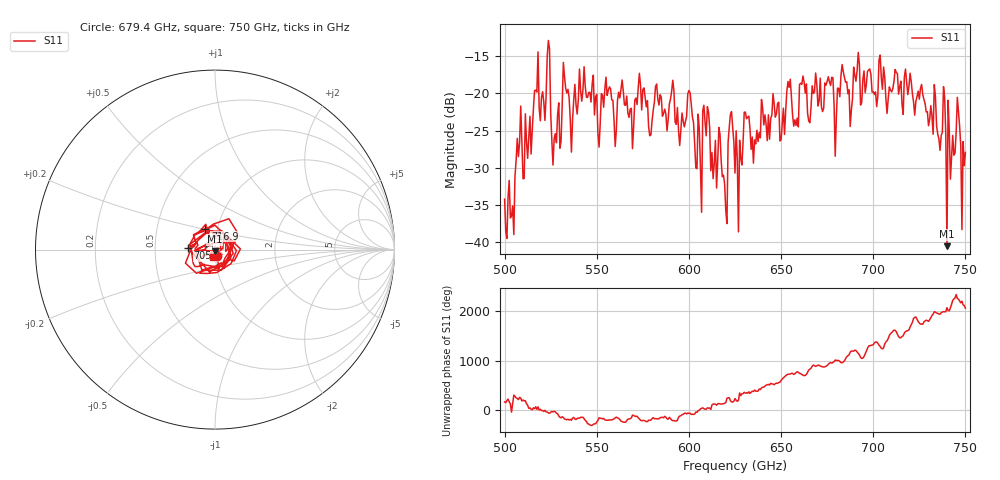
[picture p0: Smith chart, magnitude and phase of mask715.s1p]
!Created with skrf (http://scikit-rf.org).
# GHz S MA R 50.0
!freq magS11 angS11
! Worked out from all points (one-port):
!   401 points, 500 GHz to 750 GHz, reference 50 ohm
!   lowest |S11| = -40.6 dB at 740 GHz (marker M1), VSWR 1.02, Z = 49.9 - j0.936 ohm
!   |S11| at or under -10 dB: start of sweep to end of sweep
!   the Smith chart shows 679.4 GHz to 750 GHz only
!   S11 on the Smith chart (normalised r, x): 679.4 GHz: 1.02, -0.07; 705.6 GHz: 0.74, +0.01; 716.9 GHz: 0.87, +0.21; 750 GHz: 0.98, -0.08
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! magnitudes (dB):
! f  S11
! 500 GHz  -34.2
! 504.4 GHz  -35.1
! 507.5 GHz  -28.5
! 511.2 GHz  -22.7
! 516.9 GHz  -19.6
! 523.8 GHz  -12.9
! 526.9 GHz  -26.1
! 531.2 GHz  -21.5
! 562.5 GHz  -20.6
! 579.4 GHz  -25.6
! 590.6 GHz  -19.7
! 593.8 GHz  -21.9
! 600.6 GHz  -19.9
! 605.6 GHz  -24.8
! 609.4 GHz  -25.7
! 619.4 GHz  -32.2
! 622.5 GHz  -22.8
! 625 GHz  -30.7
! 656.2 GHz  -23.0
! 679.4 GHz  -28.5
! 683.8 GHz  -17.1
! 687.5 GHz  -24.5
! 690.6 GHz  -18.4
! 705.6 GHz  -16.5
! 716.9 GHz  -17.8
! 718.8 GHz  -20.2
! 740 GHz  -40.6
! 750 GHz  -27.9
